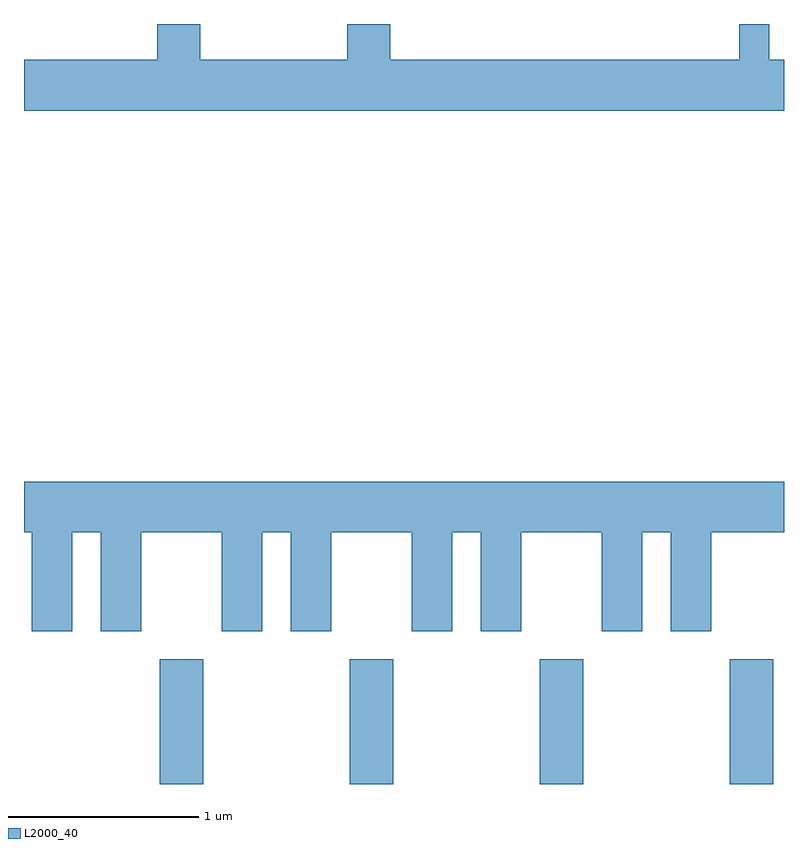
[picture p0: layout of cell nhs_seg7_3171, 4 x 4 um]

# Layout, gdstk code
import gdstk
lib = gdstk.Library(unit=1e-6, precision=1e-09)
def R(c, l, rs):  # rectangles x0, y0, x1, y1
    for r in rs: c.add(gdstk.rectangle(r[:2], r[2:], *l))
def A(c, l, x, y, w, h, nx, ny, dx, dy):  # array of equal rectangles
    R(c, l, [(x+i*dx, y+j*dy, x+i*dx+w, y+j*dy+h) for i in range(nx) for j in range(ny)])
def P(c, l, *ps):  # polygons
    for p in ps: c.add(gdstk.Polygon(p, *l))
L2000_40 = (2000, 40)

nhs_seg7_3171 = lib.new_cell('nhs_seg7_3171')
A(nhs_seg7_3171, L2000_40, 282.326, 1786.252, 0.228, 0.657, 4, 1, 1, 0)
P(nhs_seg7_3171, L2000_40, [(285.611,1790.064),(285.534,1790.064),(285.534,1790.252),(285.376,1790.252),(285.376,1790.064),(283.539,1790.064),(283.539,1790.252),(283.311,1790.252),(283.311,1790.064),(282.539,1790.064),(282.539,1790.252),(282.311,1790.252),(282.311,1790.064),(281.611,1790.064),(281.611,1789.796),(285.611,1789.796)],
  [(281.864,1787.576),(282.016,1787.576),(282.016,1787.056),(282.229,1787.056),(282.229,1787.576),(282.651,1787.576),(282.651,1787.056),(282.864,1787.056),(282.864,1787.576),(283.016,1787.576),(283.016,1787.056),(283.229,1787.056),(283.229,1787.576),(283.651,1787.576),(283.651,1787.056),(283.864,1787.056),(283.864,1787.576),(284.016,1787.576),(284.016,1787.056),(284.229,1787.056),(284.229,1787.576),(284.651,1787.576),(284.651,1787.056),(284.864,1787.056),(284.864,1787.576),(285.016,1787.576),(285.016,1787.056),(285.229,1787.056),(285.229,1787.576),(285.611,1787.576),(285.611,1787.844),(281.611,1787.844),(281.611,1787.576),(281.651,1787.576),(281.651,1787.056),(281.864,1787.056)])

lib.write_gds('nhs_seg7_3171.gds')
